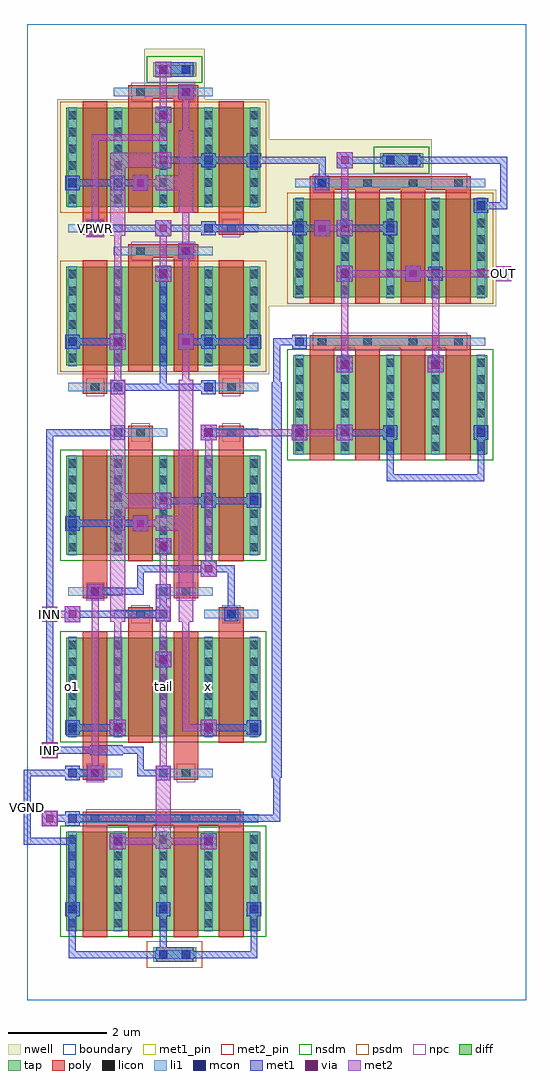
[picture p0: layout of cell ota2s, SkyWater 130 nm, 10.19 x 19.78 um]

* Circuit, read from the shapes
.subckt ota2s INN INP OUT VBN VGND VPWR o1 tail x
XM1 tail VBN VGND VGND sky130_fd_pr__nfet_01v8 w=2 l=0.5 m=4
XM2 o1 VGND o1 VGND sky130_fd_pr__nfet_01v8 w=2 l=0.5 m=2
XM3 x VGND x VGND sky130_fd_pr__nfet_01v8 w=2 l=0.5 m=2
XM4 tail INN o1 VGND sky130_fd_pr__nfet_01v8 w=2 l=0.5 m=2
XM5 tail INP x VGND sky130_fd_pr__nfet_01v8 w=2 l=0.5 m=2
XM6 OUT VBN VGND VGND sky130_fd_pr__nfet_01v8 w=2 l=0.5 m=4
XM7 o1 VPWR o1 VPWR sky130_fd_pr__pfet_01v8 w=2 l=0.5 m=2
XM8 x VPWR x VPWR sky130_fd_pr__pfet_01v8 w=2 l=0.5 m=2
XM9 VPWR x o1 VPWR sky130_fd_pr__pfet_01v8 w=2 l=0.5 m=2
XM10 VPWR x x VPWR sky130_fd_pr__pfet_01v8 w=2 l=0.5 m=2
XM11 OUT o1 VPWR VPWR sky130_fd_pr__pfet_01v8 w=2 l=0.5 m=4
.ends

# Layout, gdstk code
import gdstk
lib = gdstk.Library(unit=1e-6, precision=1e-09)
def R(c, l, rs):  # rectangles x0, y0, x1, y1
    for r in rs: c.add(gdstk.rectangle(r[:2], r[2:], *l))
def A(c, l, x, y, w, h, nx, ny, dx, dy):  # array of equal rectangles
    R(c, l, [(x+i*dx, y+j*dy, x+i*dx+w, y+j*dy+h) for i in range(nx) for j in range(ny)])
nwell = (64, 20)
diff = (65, 20)
tap = (65, 44)
poly = (66, 20)
licon = (66, 44)
li1 = (67, 20)
mcon = (67, 44)
met1_pin = (68, 16)
met1 = (68, 20)
via = (68, 44)
met2_pin = (69, 16)
met2 = (69, 20)
nsdm = (93, 44)
psdm = (94, 20)
npc = (95, 20)
boundary = (235, 4)

ota2s = lib.new_cell('ota2s')
R(ota2s, nwell, [(0.615,12.68,4.905,14.06), (0.615,14.06,9.505,16.42), (0.615,16.42,8.205,17.44), (0.615,17.44,4.905,18.26), (2.375,18.26,3.605,19.28)])
R(ota2s, diff, [(0.795,1.405,4.725,3.405), (0.795,5.345,4.725,7.345), (0.795,9.025,4.725,11.025), (5.395,11.065,9.325,13.065), (0.795,12.86,4.725,14.86), (5.395,14.24,9.325,16.24), (0.795,16.08,4.725,18.08)])
R(ota2s, tap, [(2.555,0.775,3.425,1.065), (7.155,16.875,8.025,17.165), (2.555,18.715,3.425,19.005)])
A(ota2s, poly, 1.13, 1.275, 0.5, 2.405, 4, 1, 0.92, 0)
A(ota2s, poly, 5.73, 10.935, 0.5, 2.405, 4, 1, 0.92, 0)
A(ota2s, poly, 5.73, 14.11, 0.5, 2.45, 4, 1, 0.92, 0)
R(ota2s, poly, [(1.13,3.545,4.39,3.815), (1.13,4.465,1.63,4.735), (2.97,4.465,3.47,4.735), (1.13,4.6,1.63,7.475), (2.97,4.6,3.47,7.475), (2.05,5.215,2.55,7.82), (3.89,5.215,4.39,7.82), (2.05,7.685,2.55,7.955), (3.89,7.685,4.39,7.955), (1.13,8.145,1.63,8.415), (2.97,8.145,3.47,8.415), (1.13,8.28,1.63,11.155), (2.97,8.28,3.47,11.155), (2.05,8.895,2.55,11.5), (3.89,8.895,4.39,11.5), (2.05,11.365,2.55,11.635), (3.89,11.365,4.39,11.635), (1.13,12.285,1.63,12.555), (3.89,12.285,4.39,12.555), (1.13,12.42,1.63,14.99), (3.89,12.42,4.39,14.99), (2.05,12.73,2.55,15.18), (2.97,12.73,3.47,15.18), (5.73,13.205,8.99,13.475), (2.05,15.045,3.47,15.315), (1.13,15.505,1.63,15.775), (3.89,15.505,4.39,15.775), (1.13,15.64,1.63,18.21), (3.89,15.64,4.39,18.21), (2.05,15.95,2.55,18.4), (2.97,15.95,3.47,18.4), (5.73,16.425,8.99,16.695), (2.05,18.265,3.47,18.535)])
A(ota2s, licon, 3.135, 0.835, 0.17, 0.17, 1, 3, 0, 3.68)
A(ota2s, licon, 0.835, 1.47, 0.17, 0.17, 5, 6, 0.92, 0.34)
A(ota2s, licon, 1.295, 3.595, 0.17, 0.17, 4, 1, 0.92, 0)
A(ota2s, licon, 0.835, 5.41, 0.17, 0.17, 5, 6, 0.92, 0.34)
A(ota2s, licon, 2.215, 7.735, 0.17, 0.17, 1, 3, 0, 3.68)
A(ota2s, licon, 0.835, 9.09, 0.17, 0.17, 5, 6, 0.92, 0.34)
A(ota2s, licon, 5.435, 11.13, 0.17, 0.17, 5, 6, 0.92, 0.34)
A(ota2s, licon, 0.835, 12.925, 0.17, 0.17, 5, 6, 0.92, 0.34)
A(ota2s, licon, 5.895, 13.255, 0.17, 0.17, 4, 2, 0.92, 3.22)
A(ota2s, licon, 5.435, 14.305, 0.17, 0.17, 5, 6, 0.92, 0.34)
A(ota2s, licon, 0.835, 16.145, 0.17, 0.17, 5, 6, 0.92, 0.34)
R(ota2s, licon, [(2.675,0.835,2.845,1.005), (1.295,4.515,1.465,4.685), (4.055,7.735,4.225,7.905), (1.295,8.195,1.465,8.365), (4.055,11.415,4.225,11.585), (1.295,12.335,1.465,12.505), (4.055,12.335,4.225,12.505), (3.135,15.095,3.305,15.265), (1.295,15.555,1.465,15.725), (4.055,15.555,4.225,15.725), (7.275,16.935,7.445,17.105), (7.735,16.935,7.905,17.105), (2.215,18.315,2.385,18.485), (3.135,18.315,3.305,18.485), (2.675,18.775,2.845,18.945), (3.135,18.775,3.305,18.945)])
A(ota2s, li1, 0.835, 1.39, 0.17, 2.03, 5, 2, 0.92, 3.94)
A(ota2s, li1, 0.835, 9.01, 0.17, 2.03, 5, 2, 0.92, 3.835)
A(ota2s, li1, 5.435, 11.05, 0.17, 2.03, 5, 2, 0.92, 3.175)
A(ota2s, li1, 0.835, 16.065, 0.17, 2.03, 5, 1, 0.92, 0)
R(ota2s, li1, [(2.595,0.835,3.385,1.005), (0.835,3.595,4.685,3.765), (0.835,4.515,1.925,4.685), (2.675,4.515,3.765,4.685), (1.755,7.735,2.845,7.905), (3.595,7.735,4.685,7.905), (0.835,8.195,1.925,8.365), (2.675,8.195,3.765,8.365), (1.755,11.415,2.845,11.585), (3.595,11.415,4.685,11.585), (0.835,12.335,1.925,12.505), (3.595,12.335,4.685,12.505), (5.435,13.255,9.285,13.425), (1.755,15.095,3.765,15.265), (0.835,15.555,1.925,15.725), (3.595,15.555,4.685,15.725), (5.435,16.475,9.285,16.645), (7.195,16.935,7.985,17.105), (1.755,18.315,3.765,18.485), (2.595,18.775,3.385,18.945)])
A(ota2s, mcon, 0.835, 1.755, 0.17, 0.17, 3, 1, 1.84, 0)
A(ota2s, mcon, 0.835, 3.595, 0.17, 0.17, 1, 3, 0, 0.92)
A(ota2s, mcon, 1.755, 11.415, 0.17, 0.17, 5, 1, 1.84, 0)
A(ota2s, mcon, 3.595, 13.255, 0.17, 0.17, 3, 1, 0.92, 0)
A(ota2s, mcon, 3.595, 15.555, 0.17, 0.17, 3, 1, 1.84, 0)
R(ota2s, mcon, [(2.675,0.835,2.845,1.005), (3.135,0.835,3.305,1.005), (1.755,3.135,1.925,3.305), (3.595,3.135,3.765,3.305), (2.675,4.515,2.845,4.685), (1.755,5.435,1.925,5.605), (3.595,5.435,3.765,5.605), (4.515,5.435,4.685,5.605), (2.675,6.815,2.845,6.985), (2.675,7.735,2.845,7.905), (4.055,7.735,4.225,7.905), (1.295,8.195,1.465,8.365), (2.675,8.195,2.845,8.365), (2.675,9.115,2.845,9.285), (0.835,9.575,1.005,9.745), (1.755,9.575,1.925,9.745), (3.595,10.035,3.765,10.205), (4.515,10.035,4.685,10.205), (1.755,12.335,1.925,12.505), (3.595,12.335,3.765,12.505), (6.355,12.795,6.525,12.965), (8.195,12.795,8.365,12.965), (0.835,13.255,1.005,13.425), (1.755,13.255,1.925,13.425), (2.675,14.635,2.845,14.805), (6.355,14.635,6.525,14.805), (8.195,14.635,8.365,14.805), (3.135,15.095,3.305,15.265), (1.295,15.555,1.465,15.725), (9.115,16.015,9.285,16.185), (0.835,16.475,1.005,16.645), (1.755,16.475,1.925,16.645), (5.895,16.475,6.065,16.645), (3.595,16.935,3.765,17.105), (4.515,16.935,4.685,17.105), (7.275,16.935,7.445,17.105), (7.735,16.935,7.905,17.105), (2.675,17.855,2.845,18.025), (3.135,18.315,3.305,18.485), (2.675,18.775,2.845,18.945), (3.135,18.775,3.305,18.945)])
R(ota2s, met1_pin, [(-0.07,3.15,0.07,4.67), (1.235,15.495,1.525,15.785)])
A(ota2s, met1, 0.85, 0.85, 0.14, 1.06, 3, 1, 1.84, 0)
A(ota2s, met1, 0.775, 1.695, 0.29, 0.29, 3, 1, 1.84, 0)
A(ota2s, met1, 0.775, 3.535, 0.29, 0.29, 1, 3, 0, 0.92)
A(ota2s, met1, 1.695, 11.355, 0.29, 0.29, 5, 1, 1.84, 0)
A(ota2s, met1, 3.535, 13.195, 0.29, 0.29, 3, 1, 0.92, 0)
A(ota2s, met1, 3.535, 15.495, 0.29, 0.29, 3, 1, 1.84, 0)
A(ota2s, met1, 2.6, 16.86, 0.32, 0.32, 1, 3, 0, 0.92)
R(ota2s, met1, [(2.615,0.775,3.365,1.065), (0.85,0.85,2.83,0.99), (2.69,0.85,4.67,0.99), (2.69,0.85,2.83,0.99), (0.85,1.77,0.99,3.29), (1.68,3.06,2,3.38), (3.52,3.06,3.84,3.38), (1.695,3.075,1.985,3.365), (3.535,3.075,3.825,3.365), (-0.07,3.15,0.99,3.29), (-0.07,3.15,0.07,4.67), (0.3,3.52,0.62,3.84), (0.39,3.61,0.99,3.75), (0.85,3.61,5.13,3.75), (4.99,3.61,5.13,4.67), (1.22,4.44,1.54,4.76), (2.615,4.455,2.905,4.745), (4.96,4.5,5.16,12.52), (-0.07,4.53,0.99,4.67), (0.85,4.53,1.45,4.67), (2.23,4.53,2.83,4.67), (2.23,4.53,2.37,5.13), (0.3,4.9,0.62,5.22), (1.28,4.96,1.94,5.16), (0.39,4.99,0.53,11.57), (0.39,4.99,1.45,5.13), (1.77,4.99,2.37,5.13), (1.68,5.36,2,5.68), (3.52,5.36,3.84,5.68), (1.695,5.375,1.985,5.665), (3.535,5.375,3.825,5.665), (4.455,5.375,4.745,5.665), (0.85,5.45,1.91,5.59), (3.61,5.45,4.67,5.59), (2.6,6.74,2.92,7.06), (2.615,6.755,2.905,7.045), (0.76,7.66,1.08,7.98), (2.615,7.675,2.905,7.965), (3.995,7.675,4.285,7.965), (0.85,7.75,2.83,7.89), (2.69,7.75,2.83,8.35), (4.07,7.75,4.21,8.81), (1.22,8.12,1.54,8.44), (1.235,8.135,1.525,8.425), (2.615,8.135,2.905,8.425), (1.31,8.21,2.37,8.35), (2.23,8.21,2.37,8.81), (3.52,8.58,3.84,8.9), (2.23,8.67,4.21,8.81), (2.6,9.04,2.92,9.36), (2.615,9.055,2.905,9.345), (2.14,9.5,2.46,9.82), (0.775,9.515,1.065,9.805), (1.695,9.515,1.985,9.805), (0.85,9.59,1.91,9.73), (1.77,9.59,2.37,9.73), (2.6,9.96,2.92,10.28), (3.535,9.975,3.825,10.265), (4.455,9.975,4.745,10.265), (2.69,10.05,3.75,10.19), (3.61,10.05,4.67,10.19), (7.29,10.51,9.27,10.65), (7.29,10.51,7.43,11.57), (9.13,10.51,9.27,11.57), (3.52,11.34,3.84,11.66), (5.36,11.34,5.68,11.66), (6.28,11.34,6.6,11.66), (0.39,11.43,1.91,11.57), (6.37,11.43,7.43,11.57), (1.695,12.275,1.985,12.565), (3.535,12.275,3.825,12.565), (1.77,12.35,2.83,12.49), (2.69,12.35,3.75,12.49), (2.69,12.35,2.83,14.79), (4.99,12.35,5.13,13.41), (6.28,12.72,6.6,13.04), (8.12,12.72,8.44,13.04), (6.295,12.735,6.585,13.025), (8.135,12.735,8.425,13.025), (1.68,13.18,2,13.5), (3.06,13.18,3.38,13.5), (0.775,13.195,1.065,13.485), (1.695,13.195,1.985,13.485), (0.85,13.27,1.91,13.41), (3.15,13.27,3.75,13.41), (3.61,13.27,4.67,13.41), (4.99,13.27,5.59,13.41), (2.6,14.56,2.92,14.88), (6.28,14.56,6.6,14.88), (7.66,14.56,7.98,14.88), (2.615,14.575,2.905,14.865), (6.295,14.575,6.585,14.865), (8.135,14.575,8.425,14.865), (7.75,14.65,8.35,14.79), (3.06,15.02,3.38,15.34), (3.075,15.035,3.365,15.325), (1.22,15.48,1.54,15.8), (2.6,15.48,2.92,15.8), (5.82,15.48,6.14,15.8), (6.28,15.48,6.6,15.8), (1.235,15.495,1.525,15.785), (1.31,15.57,3.75,15.71), (3.61,15.57,5.59,15.71), (5.45,15.57,6.05,15.71), (6.37,15.57,7.43,15.71), (9.055,15.955,9.345,16.245), (9.13,16.03,9.73,16.17), (9.59,16.03,9.73,17.09), (2.14,16.4,2.46,16.72), (0.775,16.415,1.065,16.705), (1.695,16.415,1.985,16.705), (5.835,16.415,6.125,16.705), (0.85,16.49,1.91,16.63), (1.77,16.49,2.37,16.63), (5.91,16.49,6.05,17.09), (6.28,16.86,6.6,17.18), (3.535,16.875,3.825,17.165), (4.455,16.875,4.745,17.165), (7.215,16.875,7.965,17.165), (2.69,16.95,3.75,17.09), (3.61,16.95,4.67,17.09), (4.53,16.95,6.05,17.09), (6.37,16.95,7.43,17.09), (7.29,16.95,7.43,17.09), (7.29,16.95,9.73,17.09), (2.615,17.795,2.905,18.085), (3.06,18.24,3.38,18.56), (3.075,18.255,3.365,18.545), (2.615,18.715,3.365,19.005), (2.69,18.79,2.83,18.93)])
A(ota2s, via, 2.685, 16.945, 0.15, 0.15, 1, 3, 0, 0.92)
R(ota2s, via, [(1.765,3.145,1.915,3.295), (3.605,3.145,3.755,3.295), (0.385,3.605,0.535,3.755), (1.305,4.525,1.455,4.675), (0.385,4.985,0.535,5.135), (1.765,5.445,1.915,5.595), (3.605,5.445,3.755,5.595), (2.685,6.825,2.835,6.975), (0.845,7.745,0.995,7.895), (1.305,8.205,1.455,8.355), (3.605,8.665,3.755,8.815), (2.685,9.125,2.835,9.275), (2.225,9.585,2.375,9.735), (2.685,10.045,2.835,10.195), (3.605,11.425,3.755,11.575), (5.445,11.425,5.595,11.575), (6.365,11.425,6.515,11.575), (6.365,12.805,6.515,12.955), (8.205,12.805,8.355,12.955), (1.765,13.265,1.915,13.415), (3.145,13.265,3.295,13.415), (2.685,14.645,2.835,14.795), (6.365,14.645,6.515,14.795), (7.745,14.645,7.895,14.795), (3.145,15.105,3.295,15.255), (1.305,15.565,1.455,15.715), (2.685,15.565,2.835,15.715), (5.905,15.565,6.055,15.715), (6.365,15.565,6.515,15.715), (2.225,16.485,2.375,16.635), (6.365,16.945,6.515,17.095), (3.145,18.325,3.295,18.475)])
R(ota2s, met2_pin, [(0.31,3.53,0.61,3.83), (0.31,4.91,0.61,5.21), (0.31,7.67,0.61,7.97), (9.51,14.57,9.81,14.87)])
A(ota2s, met2, 2.6, 16.86, 0.32, 0.32, 1, 3, 0, 0.92)
R(ota2s, met2, [(1.68,3.06,2,3.38), (3.52,3.06,3.84,3.38), (2.61,3.07,2.91,4.75), (1.77,3.15,2.83,3.29), (2.69,3.15,3.75,3.29), (0.3,3.52,0.62,3.84), (0.31,3.53,0.61,3.83), (0.39,3.61,0.53,3.75), (1.22,4.44,1.54,4.76), (1.31,4.53,1.45,8.35), (2.69,4.53,2.83,6.97), (0.3,4.9,0.62,5.22), (0.31,4.91,0.61,5.21), (0.39,4.99,0.53,5.13), (1.68,5.36,2,5.68), (3.52,5.36,3.84,5.68), (1.77,5.45,1.91,7.89), (3.15,5.45,3.75,5.59), (3.15,5.45,3.29,7.89), (2.6,6.74,2.92,7.06), (2.69,6.83,2.83,7.89), (0.76,7.66,1.08,7.98), (0.31,7.67,0.61,7.97), (1.69,7.67,1.99,12.57), (2.61,7.67,2.91,8.43), (3.07,7.67,3.37,9.81), (0.39,7.75,0.53,7.89), (0.39,7.75,0.99,7.89), (1.22,8.12,1.54,8.44), (2.69,8.21,2.83,9.27), (3.52,8.58,3.84,8.9), (3.61,8.67,3.75,11.57), (2.6,9.04,2.92,9.36), (2.14,9.5,2.46,9.82), (2.61,9.51,3.37,9.81), (3.07,9.51,3.37,12.57), (2.23,9.59,2.83,9.73), (2.6,9.96,2.92,10.28), (1.69,9.97,2.91,10.27), (3.52,11.34,3.84,11.66), (5.36,11.34,5.68,11.66), (6.28,11.34,6.6,11.66), (3.61,11.43,5.59,11.57), (5.45,11.43,6.51,11.57), (1.77,12.35,1.91,13.41), (3.15,12.35,3.29,13.41), (6.28,12.72,6.6,13.04), (8.12,12.72,8.44,13.04), (6.37,12.81,6.51,14.79), (8.21,12.81,8.35,14.79), (1.68,13.18,2,13.5), (3.06,13.18,3.38,13.5), (1.77,13.27,1.91,15.71), (3.15,13.27,3.29,15.25), (2.6,14.56,2.92,14.88), (6.28,14.56,6.6,14.88), (7.66,14.56,7.98,14.88), (9.51,14.57,9.81,14.87), (2.69,14.65,2.83,15.71), (6.37,14.65,7.89,14.79), (7.75,14.65,9.73,14.79), (9.59,14.65,9.73,14.79), (3.06,15.02,3.38,15.34), (3.15,15.11,3.29,16.17), (1.22,15.48,1.54,15.8), (2.6,15.48,2.92,15.8), (5.82,15.48,6.14,15.8), (6.28,15.48,6.6,15.8), (1.69,15.49,1.99,17.17), (1.31,15.57,1.45,17.55), (5.91,15.57,6.51,15.71), (6.37,15.57,6.51,17.09), (3.07,15.95,3.37,17.63), (2.14,16.4,2.46,16.72), (2.61,16.41,3.37,16.71), (2.23,16.49,2.83,16.63), (6.28,16.86,6.6,17.18), (1.69,16.87,2.91,17.17), (1.31,17.41,2.83,17.55), (2.69,17.41,2.83,18.01), (3.15,17.41,3.29,18.47), (2.69,17.87,2.83,18.93), (3.06,18.24,3.38,18.56)])
R(ota2s, nsdm, [(0.67,1.28,4.85,3.53), (0.67,5.22,4.85,7.47), (0.67,8.9,4.85,11.15), (5.27,10.94,9.45,13.19), (7.03,16.75,8.15,17.29), (2.43,18.59,3.55,19.13)])
R(ota2s, psdm, [(2.43,0.65,3.55,1.19), (0.67,12.735,4.85,14.985), (5.27,14.115,9.45,16.365), (0.67,15.955,4.85,18.205)])
R(ota2s, npc, [(1.195,3.495,4.325,3.865), (1.195,4.415,1.565,4.785), (3.035,4.415,3.405,4.785), (2.115,7.635,2.485,8.005), (3.955,7.635,4.325,8.005), (1.195,8.095,1.565,8.465), (3.035,8.095,3.405,8.465), (2.115,11.315,2.485,11.685), (3.955,11.315,4.325,11.685), (1.195,12.235,1.565,12.605), (3.955,12.235,4.325,12.605), (5.795,13.155,8.925,13.525), (2.115,14.995,3.405,15.365), (1.195,15.455,1.565,15.825), (3.955,15.455,4.325,15.825), (5.795,16.375,8.925,16.745), (2.115,18.215,3.405,18.585)])
R(ota2s, boundary, [(0,0,10.12,19.78)])
ota2s.add(gdstk.Label('o1', (0.92,6.345), layer=67, texttype=5))
ota2s.add(gdstk.Label('tail', (2.76,6.345), layer=67, texttype=5))
ota2s.add(gdstk.Label('x', (3.68,6.345), layer=67, texttype=5))
ota2s.add(gdstk.Label('VPWR', (1.38,15.64), layer=68, texttype=5))
ota2s.add(gdstk.Label('VGND', (0,3.91), layer=68, texttype=5))
ota2s.add(gdstk.Label('INP', (0.46,5.06), layer=69, texttype=5))
ota2s.add(gdstk.Label('INN', (0.46,7.82), layer=69, texttype=5))
ota2s.add(gdstk.Label('VBN', (0.46,3.68), layer=69, texttype=5))
ota2s.add(gdstk.Label('OUT', (9.66,14.72), layer=69, texttype=5))
ota2s.add(gdstk.Label('VPWR', (1.38,15.64), layer=68, texttype=16))
ota2s.add(gdstk.Label('VGND', (0,3.91), layer=68, texttype=16))
ota2s.add(gdstk.Label('INP', (0.46,5.06), layer=69, texttype=16))
ota2s.add(gdstk.Label('INN', (0.46,7.82), layer=69, texttype=16))
ota2s.add(gdstk.Label('VBN', (0.46,3.68), layer=69, texttype=16))
ota2s.add(gdstk.Label('OUT', (9.66,14.72), layer=69, texttype=16))

lib.write_gds('ota2s.gds')
